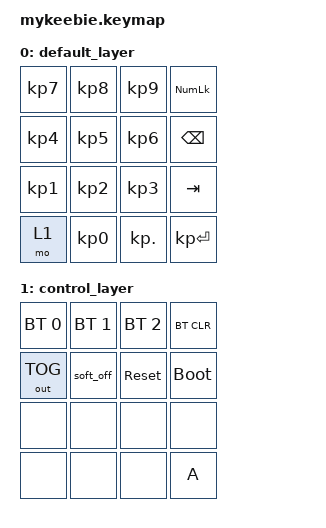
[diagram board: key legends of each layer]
// Keymaps: https://zmk.dev/docs/keymaps
// Behaviors: https://zmk.dev/docs/keymaps/behaviors

#include <behaviors.dtsi>
#include <dt-bindings/zmk/keys.h>
#include <dt-bindings/zmk/bt.h>
#include <dt-bindings/zmk/outputs.h>

/ {
    keymap {
        compatible = "zmk,keymap";

	   // Layer 0
        default_layer {
            bindings = <
                &kp KP_N7  &kp KP_N8  &kp KP_N9   &kp KP_NUMLOCK
                &kp KP_N4  &kp KP_N5  &kp KP_N6   &kp BACKSPACE
                &kp KP_N1  &kp KP_N2  &kp KP_N3   &kp TAB
                &mo 1      &kp KP_N0  &kp KP_DOT  &kp KP_ENTER
            >;
        };

	    // Layer 1
	    control_layer {
            bindings = <
                &bt BT_SEL 0  &bt BT_SEL 1  &bt BT_SEL 2  &bt BT_CLR
                &out OUT_TOG  &soft_off     &sys_reset    &bootloader
		        &none         &none         &none         &none
		        &none         &none         &none         &kp A
            >;
        };
    };
};
